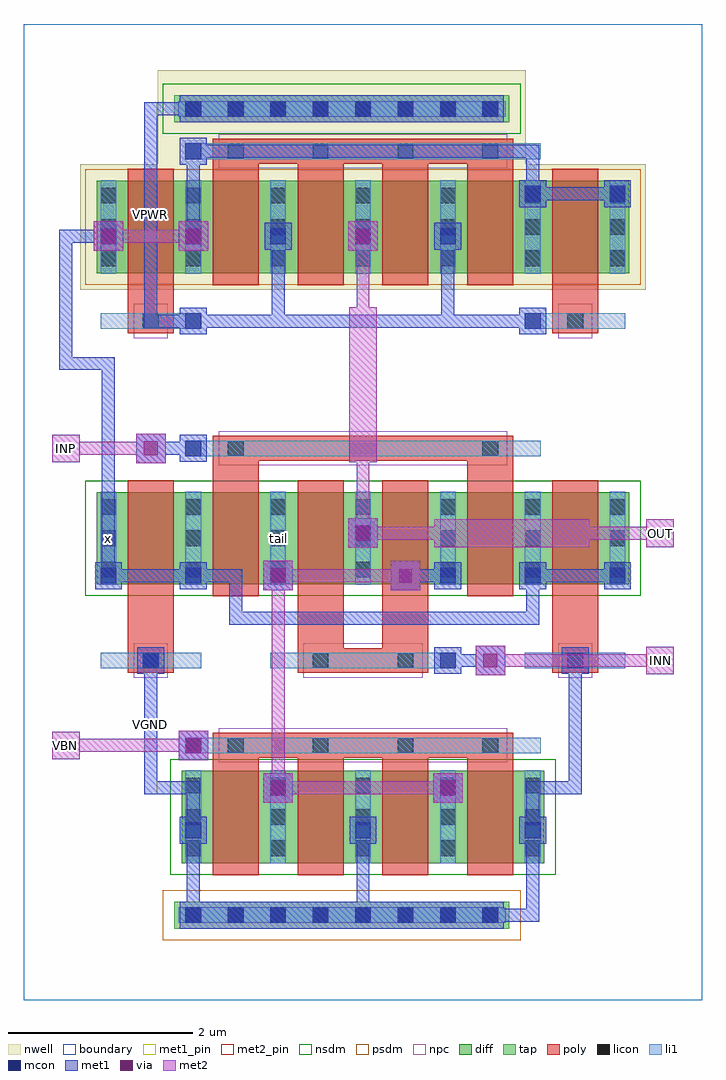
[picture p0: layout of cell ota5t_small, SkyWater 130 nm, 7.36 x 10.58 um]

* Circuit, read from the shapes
.subckt ota5t_small INN INP OUT VBN VGND VPWR tail x
XM1 x VGND x VGND sky130_fd_pr__nfet_01v8 w=1 l=0.5 m=2
XM2 tail VBN VGND VGND sky130_fd_pr__nfet_01v8 w=1 l=0.5 m=4
XM3 tail INP x VGND sky130_fd_pr__nfet_01v8 w=1 l=0.5 m=2
XM4 OUT INN tail VGND sky130_fd_pr__nfet_01v8 w=1 l=0.5 m=2
XM5 x VPWR x VPWR sky130_fd_pr__pfet_01v8 w=1 l=0.5 m=2
XM6 VPWR x x VPWR sky130_fd_pr__pfet_01v8 w=1 l=0.5 m=2
XM7 OUT x VPWR VPWR sky130_fd_pr__pfet_01v8 w=1 l=0.5 m=2
.ends

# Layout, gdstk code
import gdstk
lib = gdstk.Library(unit=1e-6, precision=1e-09)
def R(c, l, rs):  # rectangles x0, y0, x1, y1
    for r in rs: c.add(gdstk.rectangle(r[:2], r[2:], *l))
def A(c, l, x, y, w, h, nx, ny, dx, dy):  # array of equal rectangles
    R(c, l, [(x+i*dx, y+j*dy, x+i*dx+w, y+j*dy+h) for i in range(nx) for j in range(ny)])
nwell = (64, 20)
diff = (65, 20)
tap = (65, 44)
poly = (66, 20)
licon = (66, 44)
li1 = (67, 20)
mcon = (67, 44)
met1_pin = (68, 16)
met1 = (68, 20)
via = (68, 44)
met2_pin = (69, 16)
met2 = (69, 20)
nsdm = (93, 44)
psdm = (94, 20)
npc = (95, 20)
boundary = (235, 4)

ota5t_small = lib.new_cell('ota5t_small')
R(ota5t_small, nwell, [(0.615,7.7,6.745,9.06), (1.455,9.06,5.445,10.08)])
R(ota5t_small, diff, [(1.715,1.485,5.645,2.485), (0.795,4.505,6.565,5.505), (0.795,7.88,6.565,8.88)])
R(ota5t_small, tap, [(1.635,0.775,5.265,1.065), (1.635,9.515,5.265,9.805)])
A(ota5t_small, poly, 2.05, 1.355, 0.5, 1.405, 4, 1, 0.92, 0)
A(ota5t_small, poly, 2.05, 2.625, 3.26, 0.27, 1, 3, 0, 3.22)
A(ota5t_small, poly, 2.05, 7.75, 0.5, 1.45, 4, 1, 0.92, 0)
R(ota5t_small, poly, [(1.13,3.545,1.63,3.815), (2.97,3.545,4.39,3.815), (5.73,3.545,6.23,3.815), (1.13,3.68,1.63,5.635), (2.97,3.68,3.47,5.635), (3.89,3.68,4.39,5.635), (5.73,3.68,6.23,5.635), (2.05,4.375,2.55,5.98), (4.81,4.375,5.31,5.98), (1.13,7.225,1.63,7.495), (5.73,7.225,6.23,7.495), (1.13,7.36,1.63,9.01), (5.73,7.36,6.23,9.01)])
A(ota5t_small, licon, 1.755, 0.835, 0.17, 0.17, 8, 2, 0.46, 8.74)
A(ota5t_small, licon, 1.755, 1.56, 0.17, 0.17, 5, 3, 0.92, 0.34)
A(ota5t_small, licon, 2.215, 2.675, 0.17, 0.17, 4, 2, 0.92, 6.44)
A(ota5t_small, licon, 0.835, 4.58, 0.17, 0.17, 7, 3, 0.92, 0.34)
A(ota5t_small, licon, 0.835, 7.955, 0.17, 0.17, 7, 3, 0.92, 0.34)
R(ota5t_small, licon, [(1.295,3.595,1.465,3.765), (3.135,3.595,3.305,3.765), (4.055,3.595,4.225,3.765), (5.895,3.595,6.065,3.765), (2.215,5.895,2.385,6.065), (4.975,5.895,5.145,6.065), (1.295,7.275,1.465,7.445), (5.895,7.275,6.065,7.445)])
A(ota5t_small, li1, 1.755, 1.48, 0.17, 1.01, 5, 1, 0.92, 0)
A(ota5t_small, li1, 1.755, 2.675, 3.85, 0.17, 1, 3, 0, 3.22)
A(ota5t_small, li1, 0.835, 4.5, 0.17, 1.01, 7, 2, 0.92, 3.375)
R(ota5t_small, li1, [(1.675,0.835,5.225,1.005), (0.835,3.595,1.925,3.765), (2.675,3.595,4.685,3.765), (5.435,3.595,6.525,3.765), (0.835,7.275,1.925,7.445), (5.435,7.275,6.525,7.445), (1.675,9.575,5.225,9.745)])
A(ota5t_small, mcon, 1.755, 0.835, 0.17, 0.17, 8, 2, 0.46, 8.74)
A(ota5t_small, mcon, 1.755, 1.755, 0.17, 0.17, 3, 1, 1.84, 0)
A(ota5t_small, mcon, 0.835, 4.515, 0.17, 0.17, 3, 1, 0.92, 0)
A(ota5t_small, mcon, 4.515, 4.515, 0.17, 0.17, 3, 1, 0.92, 0)
A(ota5t_small, mcon, 0.835, 8.195, 0.17, 0.17, 5, 1, 0.92, 0)
R(ota5t_small, mcon, [(2.675,2.215,2.845,2.385), (4.515,2.215,4.685,2.385), (1.755,2.675,1.925,2.845), (1.295,3.595,1.465,3.765), (4.515,3.595,4.685,3.765), (5.895,3.595,6.065,3.765), (3.595,4.975,3.765,5.145), (1.755,5.895,1.925,6.065), (1.755,7.275,1.925,7.445), (5.435,7.275,5.605,7.445), (5.435,8.655,5.605,8.825), (6.355,8.655,6.525,8.825), (1.755,9.115,1.925,9.285)])
R(ota5t_small, met1_pin, [(1.31,2.23,1.45,3.75), (1.31,7.29,1.45,9.73)])
A(ota5t_small, met1, 1.77, 0.85, 0.14, 1.06, 3, 1, 1.84, 0)
A(ota5t_small, met1, 1.695, 1.695, 0.29, 0.29, 3, 1, 1.84, 0)
A(ota5t_small, met1, 0.775, 4.455, 0.29, 0.29, 3, 1, 0.92, 0)
A(ota5t_small, met1, 4.455, 4.455, 0.29, 0.29, 3, 1, 0.92, 0)
A(ota5t_small, met1, 0.775, 8.135, 0.29, 0.29, 5, 1, 0.92, 0)
R(ota5t_small, met1, [(1.695,0.775,5.205,1.065), (1.77,0.85,1.91,0.99), (1.77,0.85,3.75,0.99), (3.61,0.85,5.59,0.99), (1.77,1.77,1.91,2.37), (5.45,1.77,5.59,2.37), (2.6,2.14,2.92,2.46), (4.44,2.14,4.76,2.46), (2.615,2.155,2.905,2.445), (4.455,2.155,4.745,2.445), (1.31,2.23,1.91,2.37), (1.31,2.23,1.45,3.75), (5.45,2.23,6.05,2.37), (5.91,2.23,6.05,3.75), (1.68,2.6,2,2.92), (1.695,2.615,1.985,2.905), (4.9,3.52,5.22,3.84), (1.235,3.535,1.525,3.825), (4.455,3.535,4.745,3.825), (5.835,3.535,6.125,3.825), (4.53,3.61,5.13,3.75), (2.23,4.07,2.37,4.67), (2.23,4.07,5.59,4.21), (5.45,4.07,5.59,4.67), (2.6,4.44,2.92,4.76), (3.98,4.44,4.3,4.76), (0.85,4.53,1.91,4.67), (0.85,4.53,0.99,6.97), (1.77,4.53,2.37,4.67), (4.07,4.53,4.67,4.67), (5.45,4.53,6.51,4.67), (3.52,4.9,3.84,5.22), (3.535,4.915,3.825,5.205), (1.22,5.82,1.54,6.14), (1.695,5.835,1.985,6.125), (1.31,5.91,1.91,6.05), (0.39,6.83,0.99,6.97), (0.39,6.83,0.53,8.35), (1.695,7.215,1.985,7.505), (5.375,7.215,5.665,7.505), (1.31,7.29,1.91,7.43), (1.31,7.29,1.45,9.73), (1.77,7.29,2.83,7.43), (2.69,7.29,2.83,8.35), (2.69,7.29,5.59,7.43), (4.53,7.29,4.67,8.35), (0.76,8.12,1.08,8.44), (1.68,8.12,2,8.44), (3.52,8.12,3.84,8.44), (0.39,8.21,0.99,8.35), (1.77,8.21,1.91,9.27), (5.375,8.595,5.665,8.885), (6.295,8.595,6.585,8.885), (5.45,8.67,6.51,8.81), (5.45,8.67,5.59,9.27), (1.695,9.055,1.985,9.345), (1.77,9.13,5.59,9.27), (1.695,9.515,5.205,9.805), (1.31,9.59,1.91,9.73), (1.77,9.59,1.91,9.73)])
R(ota5t_small, via, [(2.685,2.225,2.835,2.375), (4.525,2.225,4.675,2.375), (1.765,2.685,1.915,2.835), (4.985,3.605,5.135,3.755), (2.685,4.525,2.835,4.675), (4.065,4.525,4.215,4.675), (3.605,4.985,3.755,5.135), (1.305,5.905,1.455,6.055), (0.845,8.205,0.995,8.355), (1.765,8.205,1.915,8.355), (3.605,8.205,3.755,8.355)])
R(ota5t_small, met2_pin, [(0.31,2.61,0.61,2.91), (6.75,3.53,7.05,3.83), (6.75,4.91,7.05,5.21), (0.31,5.83,0.61,6.13)])
R(ota5t_small, met2, [(2.6,2.14,2.92,2.46), (4.44,2.14,4.76,2.46), (2.69,2.23,2.83,4.67), (2.69,2.23,4.67,2.37), (1.68,2.6,2,2.92), (0.31,2.61,0.61,2.91), (0.39,2.69,1.91,2.83), (0.39,2.69,0.53,2.83), (4.9,3.52,5.22,3.84), (6.75,3.53,7.05,3.83), (4.99,3.61,6.97,3.75), (6.83,3.61,6.97,3.75), (2.6,4.44,2.92,4.76), (3.98,4.44,4.3,4.76), (2.69,4.53,4.21,4.67), (3.52,4.9,3.84,5.22), (4.45,4.91,6.13,5.21), (6.75,4.91,7.05,5.21), (3.61,4.99,3.75,6.05), (3.61,4.99,4.67,5.13), (5.91,4.99,6.97,5.13), (6.83,4.99,6.97,5.13), (1.22,5.82,1.54,6.14), (0.31,5.83,0.61,6.13), (3.53,5.83,3.83,7.51), (0.39,5.91,0.53,6.05), (0.39,5.91,1.45,6.05), (3.61,7.29,3.75,8.35), (0.76,8.12,1.08,8.44), (1.68,8.12,2,8.44), (3.52,8.12,3.84,8.44), (0.85,8.21,1.91,8.35)])
R(ota5t_small, nsdm, [(1.59,1.36,5.77,2.61), (0.67,4.38,6.69,5.63), (1.51,9.39,5.39,9.93)])
R(ota5t_small, psdm, [(1.51,0.65,5.39,1.19), (0.67,7.755,6.69,9.005)])
A(ota5t_small, npc, 2.115, 2.575, 3.13, 0.37, 1, 3, 0, 3.22)
R(ota5t_small, npc, [(1.195,3.495,1.565,3.865), (3.035,3.495,4.325,3.865), (5.795,3.495,6.165,3.865), (1.195,7.175,1.565,7.545), (5.795,7.175,6.165,7.545)])
R(ota5t_small, boundary, [(0,0,7.36,10.58)])
ota5t_small.add(gdstk.Label('x', (0.92,5.005), layer=67, texttype=5))
ota5t_small.add(gdstk.Label('tail', (2.76,5.005), layer=67, texttype=5))
ota5t_small.add(gdstk.Label('VPWR', (1.38,8.51), layer=68, texttype=5))
ota5t_small.add(gdstk.Label('VGND', (1.38,2.99), layer=68, texttype=5))
ota5t_small.add(gdstk.Label('INP', (0.46,5.98), layer=69, texttype=5))
ota5t_small.add(gdstk.Label('INN', (6.9,3.68), layer=69, texttype=5))
ota5t_small.add(gdstk.Label('VBN', (0.46,2.76), layer=69, texttype=5))
ota5t_small.add(gdstk.Label('OUT', (6.9,5.06), layer=69, texttype=5))
ota5t_small.add(gdstk.Label('VPWR', (1.38,8.51), layer=68, texttype=16))
ota5t_small.add(gdstk.Label('VGND', (1.38,2.99), layer=68, texttype=16))
ota5t_small.add(gdstk.Label('INP', (0.46,5.98), layer=69, texttype=16))
ota5t_small.add(gdstk.Label('INN', (6.9,3.68), layer=69, texttype=16))
ota5t_small.add(gdstk.Label('VBN', (0.46,2.76), layer=69, texttype=16))
ota5t_small.add(gdstk.Label('OUT', (6.9,5.06), layer=69, texttype=16))

lib.write_gds('ota5t_small.gds')
